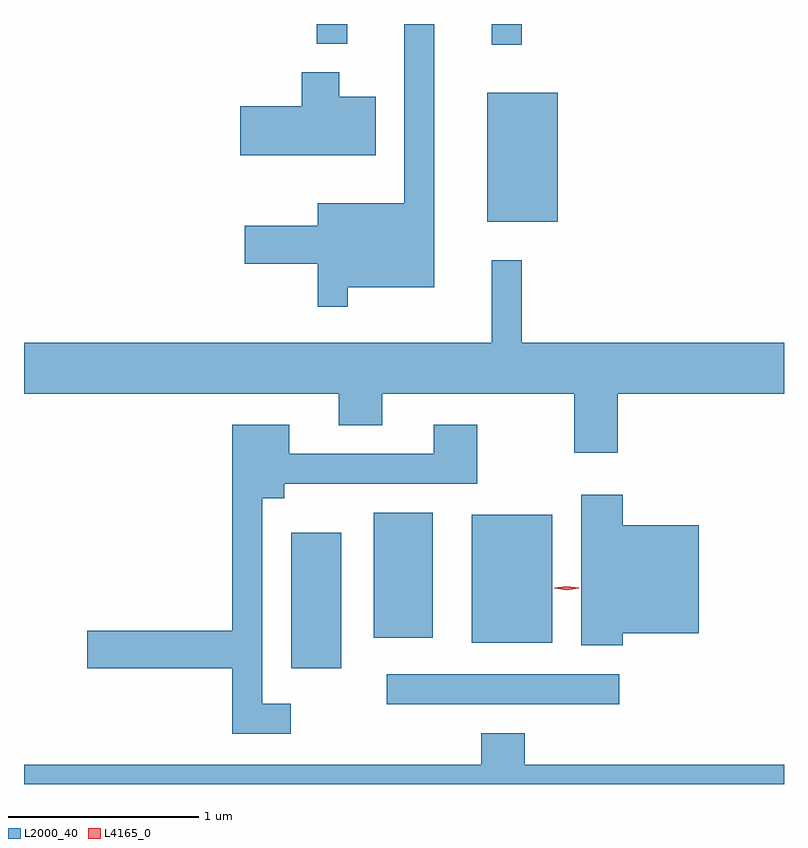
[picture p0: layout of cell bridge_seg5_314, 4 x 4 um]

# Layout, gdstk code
import gdstk
lib = gdstk.Library(unit=1e-6, precision=1e-09)
def R(c, l, rs):  # rectangles x0, y0, x1, y1
    for r in rs: c.add(gdstk.rectangle(r[:2], r[2:], *l))
def P(c, l, *ps):  # polygons
    for p in ps: c.add(gdstk.Polygon(p, *l))
L2000_40 = (2000, 40)
L4165_0 = (4165, 0)

bridge_seg5_314 = lib.new_cell('bridge_seg5_314')
R(bridge_seg5_314, L2000_40, [(662.693,1406.321,663.918,1406.479), (662.191,1406.511,662.454,1407.224), (663.141,1406.646,663.564,1407.319), (662.626,1406.671,662.934,1407.329), (663.221,1408.861,663.594,1409.539), (663.246,1409.793,663.404,1409.902), (662.326,1409.798,662.484,1409.902)])
P(bridge_seg5_314, L2000_40, [(662.489,1408.516),(662.944,1408.516),(662.944,1409.902),(662.786,1409.902),(662.786,1408.959),(662.331,1408.959),(662.331,1408.839),(661.946,1408.839),(661.946,1408.641),(662.331,1408.641),(662.331,1408.413),(662.489,1408.413)],
  [(662.634,1409.519),(662.444,1409.519),(662.444,1409.649),(662.246,1409.649),(662.246,1409.469),(661.921,1409.469),(661.921,1409.211),(662.634,1409.211)],
  [(663.404,1408.658),(663.246,1408.658),(663.246,1408.224),(660.784,1408.224),(660.784,1407.956),(662.441,1407.956),(662.441,1407.791),(662.669,1407.791),(662.669,1407.956),(663.681,1407.956),(663.681,1407.646),(663.909,1407.646),(663.909,1407.956),(664.784,1407.956),(664.784,1408.224),(663.404,1408.224)],
  [(662.188,1406.324),(662.039,1406.324),(662.039,1407.406),(662.154,1407.406),(662.154,1407.481),(663.169,1407.481),(663.169,1407.794),(662.941,1407.794),(662.941,1407.639),(662.179,1407.639),(662.179,1407.794),(661.881,1407.794),(661.881,1406.709),(661.116,1406.709),(661.116,1406.511),(661.881,1406.511),(661.881,1406.166),(662.188,1406.166)],
  [(663.934,1406.696),(664.334,1406.696),(664.334,1407.264),(663.934,1407.264),(663.934,1407.424),(663.716,1407.424),(663.716,1406.631),(663.934,1406.631)],
  [(664.784,1406.004),(663.419,1406.004),(663.419,1406.169),(663.191,1406.169),(663.191,1406.004),(660.784,1406.004),(660.784,1405.902),(664.784,1405.902)])
P(bridge_seg5_314, L4165_0, [(663.64,1406.923),(663.574,1406.932),(663.574,1406.933),(663.574,1406.934),(663.64,1406.943),(663.705,1406.934),(663.706,1406.933),(663.705,1406.932)])

lib.write_gds('bridge_seg5_314.gds')
